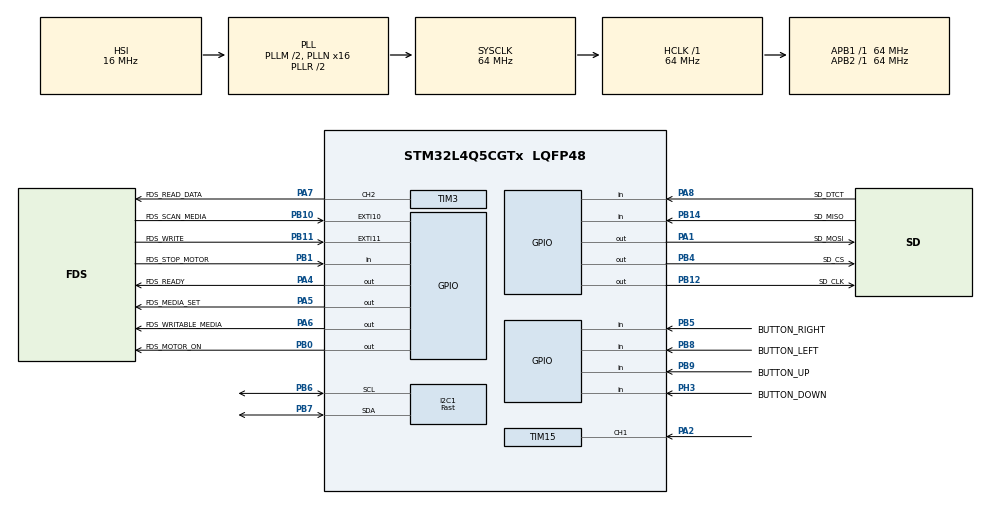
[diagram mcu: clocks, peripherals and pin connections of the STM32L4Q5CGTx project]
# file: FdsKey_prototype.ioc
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Dma.Request0=TIM3_UP
Dma.Request1=TIM15_CH1
Dma.TIM15_CH1.1.Direction=DMA_PERIPH_TO_MEMORY
Dma.TIM15_CH1.1.EventEnable=DISABLE
Dma.TIM15_CH1.1.Instance=DMA1_Channel2
Dma.TIM15_CH1.1.MemDataAlignment=DMA_MDATAALIGN_HALFWORD
Dma.TIM15_CH1.1.MemInc=DMA_MINC_ENABLE
Dma.TIM15_CH1.1.Mode=DMA_CIRCULAR
Dma.TIM15_CH1.1.PeriphDataAlignment=DMA_PDATAALIGN_HALFWORD
Dma.TIM15_CH1.1.PeriphInc=DMA_PINC_DISABLE
Dma.TIM15_CH1.1.Polarity=HAL_DMAMUX_REQ_GEN_RISING
Dma.TIM15_CH1.1.Priority=DMA_PRIORITY_VERY_HIGH
Dma.TIM15_CH1.1.RequestNumber=1
Dma.TIM15_CH1.1.SignalID=NONE
Dma.TIM15_CH1.1.SyncEnable=DISABLE
Dma.TIM15_CH1.1.SyncPolarity=HAL_DMAMUX_SYNC_NO_EVENT
Dma.TIM15_CH1.1.SyncRequestNumber=1
Dma.TIM15_CH1.1.SyncSignalID=NONE
Dma.TIM3_UP.0.Direction=DMA_MEMORY_TO_PERIPH
Dma.TIM3_UP.0.EventEnable=DISABLE
Dma.TIM3_UP.0.Instance=DMA1_Channel1
Dma.TIM3_UP.0.MemDataAlignment=DMA_MDATAALIGN_BYTE
Dma.TIM3_UP.0.MemInc=DMA_MINC_ENABLE
Dma.TIM3_UP.0.Mode=DMA_CIRCULAR
Dma.TIM3_UP.0.PeriphDataAlignment=DMA_PDATAALIGN_HALFWORD
Dma.TIM3_UP.0.PeriphInc=DMA_PINC_DISABLE
Dma.TIM3_UP.0.Polarity=HAL_DMAMUX_REQ_GEN_RISING
Dma.TIM3_UP.0.Priority=DMA_PRIORITY_HIGH
Dma.TIM3_UP.0.RequestNumber=1
Dma.TIM3_UP.0.SignalID=NONE
Dma.TIM3_UP.0.SyncEnable=DISABLE
Dma.TIM3_UP.0.SyncPolarity=HAL_DMAMUX_SYNC_NO_EVENT
Dma.TIM3_UP.0.SyncRequestNumber=1
Dma.TIM3_UP.0.SyncSignalID=NONE
FATFS._FS_EXFAT=1
FATFS._FS_NORTC=0
FATFS._FS_TINY=0
FATFS._MULTI_PARTITION=1
FATFS._USE_LABEL=1
FATFS._USE_LFN=1
I2C1.I2C_Speed_Mode=I2C_Fast
I2C1.Timing=0x00602173
Mcu.Family=STM32L4
Mcu.Name=STM32L4Q5CGTx
Mcu.Package=LQFP48
NVIC.DMA1_Channel1_IRQn=true\:0\:0\:false\:false\:true\:false\:true\:true
NVIC.DMA1_Channel2_IRQn=true\:0\:0\:false\:false\:true\:false\:true\:true
NVIC.EXTI15_10_IRQn=true\:0\:0\:true\:false\:true\:true\:true\:true
NVIC.PriorityGroup=NVIC_PRIORITYGROUP_4
NVIC.TIM1_BRK_TIM15_IRQn=true\:0\:0\:false\:false\:true\:true\:true\:true
NVIC.TIM1_UP_TIM16_IRQn=true\:0\:0\:false\:false\:true\:true\:true\:true
PA1.GPIO_Label=SD_MOSI
PA1.GPIO_Speed=GPIO_SPEED_FREQ_VERY_HIGH
PA1.Signal=GPIO_Output
PA2.Signal=S_TIM15_CH1
PA4.GPIO_Label=FDS_READY
PA4.GPIO_ModeDefaultOutputPP=GPIO_MODE_OUTPUT_OD
PA4.GPIO_PuPd=GPIO_NOPULL
PA4.PinState=GPIO_PIN_SET
PA4.Signal=GPIO_Output
PA5.GPIO_Label=FDS_MEDIA_SET
PA5.GPIO_ModeDefaultOutputPP=GPIO_MODE_OUTPUT_OD
PA5.GPIO_PuPd=GPIO_NOPULL
PA5.PinState=GPIO_PIN_SET
PA5.Signal=GPIO_Output
PA6.GPIO_Label=FDS_WRITABLE_MEDIA
PA6.GPIO_ModeDefaultOutputPP=GPIO_MODE_OUTPUT_OD
PA6.GPIO_PuPd=GPIO_NOPULL
PA6.GPIO_Speed=GPIO_SPEED_FREQ_VERY_HIGH
PA6.PinState=GPIO_PIN_SET
PA6.Signal=GPIO_Output
PA7.GPIO_Label=FDS_READ_DATA
PA7.Signal=S_TIM3_CH2
PA8.GPIO_Label=SD_DTCT
PA8.GPIO_PuPd=GPIO_PULLUP
PA8.Signal=GPIO_Input
PB0.GPIO_Label=FDS_MOTOR_ON
PB0.GPIO_ModeDefaultOutputPP=GPIO_MODE_OUTPUT_OD
PB0.GPIO_PuPd=GPIO_NOPULL
PB0.PinState=GPIO_PIN_SET
PB0.Signal=GPIO_Output
PB1.GPIO_Label=FDS_STOP_MOTOR
PB1.GPIO_PuPd=GPIO_PULLUP
PB1.Signal=GPIO_Input
PB10.GPIO_Label=FDS_SCAN_MEDIA
PB10.GPIO_ModeDefaultEXTI=GPIO_MODE_IT_RISING_FALLING
PB10.GPIO_PuPd=GPIO_PULLUP
PB10.Signal=GPXTI10
PB11.GPIO_Label=FDS_WRITE
PB11.GPIO_ModeDefaultEXTI=GPIO_MODE_IT_RISING_FALLING
PB11.GPIO_PuPd=GPIO_PULLUP
PB11.Signal=GPXTI11
PB12.GPIO_Label=SD_CLK
PB12.GPIO_Speed=GPIO_SPEED_FREQ_VERY_HIGH
PB12.PinState=GPIO_PIN_SET
PB12.Signal=GPIO_Output
PB14.GPIO_Label=SD_MISO
PB14.GPIO_PuPd=GPIO_PULLUP
PB14.Signal=GPIO_Input
PB4\ (NJTRST).GPIO_Label=SD_CS
PB4\ (NJTRST).GPIO_ModeDefaultOutputPP=GPIO_MODE_OUTPUT_PP
PB4\ (NJTRST).GPIO_Speed=GPIO_SPEED_FREQ_VERY_HIGH
PB4\ (NJTRST).PinState=GPIO_PIN_SET
PB4\ (NJTRST).Signal=GPIO_Output
PB5.GPIO_Label=BUTTON_RIGHT
PB5.GPIO_PuPd=GPIO_PULLUP
PB5.Signal=GPIO_Input
PB6.Mode=I2C
PB6.Signal=I2C1_SCL
PB7.Mode=I2C
PB7.Signal=I2C1_SDA
PB8.GPIO_Label=BUTTON_LEFT
PB8.GPIO_PuPd=GPIO_PULLUP
PB8.Signal=GPIO_Input
PB9.GPIO_Label=BUTTON_UP
PB9.GPIO_PuPd=GPIO_PULLUP
PB9.Signal=GPIO_Input
PH0-OSC_IN\ (PH0).Mode=HSE-External-Oscillator
PH0-OSC_IN\ (PH0).Signal=RCC_OSC_IN
PH1-OSC_OUT\ (PH1).Mode=HSE-External-Oscillator
PH1-OSC_OUT\ (PH1).Signal=RCC_OSC_OUT
PH3-BOOT0.GPIO_Label=BUTTON_DOWN
PH3-BOOT0.GPIO_PuPd=GPIO_PULLUP
PH3-BOOT0.Signal=GPIO_Input
ProjectManager.HeapSize=0x200
ProjectManager.StackSize=0x400
ProjectManager.TargetToolchain=STM32CubeIDE
RCC.ADCFreq_Value=64000000
RCC.AHBFreq_Value=64000000
RCC.APB1Freq_Value=64000000
RCC.APB1TimFreq_Value=64000000
RCC.APB2Freq_Value=64000000
RCC.APB2TimFreq_Value=64000000
RCC.CortexFreq_Value=64000000
RCC.HCLKFreq_Value=64000000
RCC.HSE_VALUE=16000000
RCC.HSI48_VALUE=48000000
RCC.HSI_VALUE=16000000
RCC.LSE_VALUE=32768
RCC.MSI_VALUE=4000000
RCC.PLLM1=2
RCC.PLLN=16
RCC.PLLSourceVirtual=RCC_PLLSOURCE_HSI
RCC.SYSCLKFreq_VALUE=64000000
RCC.SYSCLKSource=RCC_SYSCLKSOURCE_PLLCLK
RCC.USBFreq_Value=64000000
RCC.VCOOutputFreq_Value=128000000
SH.S_TIM15_CH1.0=TIM15_CH1,Input_Capture1_from_TI1
SH.S_TIM3_CH2.0=TIM3_CH2,PWM Generation2 CH2
TIM1.Period=9
TIM1.Prescaler=63999
TIM1.RepetitionCounter=0
TIM15.Channel-Input_Capture1_from_TI1=TIM_CHANNEL_1
TIM3.Channel-PWM\ Generation2\ CH2=TIM_CHANNEL_2
TIM3.Period=319
VP_FATFS_VS_Generic.Mode=User_defined
VP_TIM1_VS_ClockSourceINT.Mode=Internal
VP_TIM2_VS_ClockSourceINT.Mode=Internal
VP_TIM3_VS_ClockSourceINT.Mode=Internal
board=custom

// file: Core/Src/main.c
/* USER CODE BEGIN Header */
/**
  ******************************************************************************
  * @file           : main.c
  * @brief          : Main program body
  ******************************************************************************
  * @attention
  *
  * Copyright (c) 2023 STMicroelectronics.
  * All rights reserved.
  *
  * This software is licensed under terms that can be found in the LICENSE file
  * in the root directory of this software component.
  * If no LICENSE file comes with this software, it is provided AS-IS.
  *
  ******************************************************************************
  */
/* USER CODE END Header */
#include "main.h"
#include "fatfs.h"

/* USER CODE BEGIN Includes */
#include <string.h>
#include <stdio.h>
#include "oled.h"
#include "sdcard.h"
#include "fdsemu.h"
#include "browser.h"
#include "buttons.h"
#include "splash.h"
#include "sideselect.h"
/* USER CODE END Includes */

I2C_HandleTypeDef hi2c1;

TIM_HandleTypeDef htim1;
TIM_HandleTypeDef htim2;
TIM_HandleTypeDef htim3;
TIM_HandleTypeDef htim15;
DMA_HandleTypeDef hdma_tim3_up;
DMA_HandleTypeDef hdma_tim15_ch1;

void SystemClock_Config(void);
static void MX_GPIO_Init(void);
static void MX_DMA_Init(void);
static void MX_I2C1_Init(void);
static void MX_TIM3_Init(void);
static void MX_TIM2_Init(void);
static void MX_TIM1_Init(void);
static void MX_TIM15_Init(void);

/* USER CODE BEGIN 0 */

int line = 0;
void print(char *text)
{
  oled_draw_rectangle(0, line * 8, OLED_WIDTH - 1, line * 8 + 7, 1, 0);
  oled_draw_text_cropped(&FONT_ULTRASLIMFONT_8, text,
      0, line * 8,
      0, OLED_WIDTH,
      0, 0,
      0, 0);
  oled_update(line, line);
  if (line > 3)
  {
    int i;
    for (i = 0; i < 8; i++) {
      oled_set_line(oled_get_line() + 1);
      HAL_Delay(50);
    }
  }
  line++;
}

void HAL_TIM_PeriodElapsedCallback(TIM_HandleTypeDef *htim)
{
  /*
  if (htim == &htim16)
      fds_tick_5us();
  else
  */
  if (htim == &htim1)
      fds_tick_100ms();
}

void HAL_GPIO_EXTI_Callback(uint16_t GPIO_Pin)
{
//  if (GPIO_Pin == FDS_WRITE_DATA_Pin)
//    fds_write_impulse();
//  else
    fds_check_pins();
}

char selected_dir[4096] = "";
char selected_file[256] = "";

/* USER CODE END 0 */

int main(void)
{

  /* MCU Configuration--------------------------------------------------------*/

  /* Reset of all peripherals, Initializes the Flash interface and the Systick. */
  HAL_Init();

  /* Configure the system clock */
  SystemClock_Config();

  /* Initialize all configured peripherals */
  MX_GPIO_Init();
  MX_DMA_Init();
  MX_I2C1_Init();
  MX_FATFS_Init();
  MX_TIM3_Init();
  MX_TIM2_Init();
  MX_TIM1_Init();
  MX_TIM15_Init();
  /* USER CODE BEGIN 2 */

  line = 0;

//  if (HAL_GPIO_ReadPin(SD_DTCT_GPIO_Port, SD_DTCT_Pin))
//    print("no sd card");

//  if (HAL_GPIO_ReadPin(SD_DTCT_GPIO_Port, SD_DTCT_Pin))
//    show_error_screen("No SD card", 1);

  HAL_StatusTypeDef r = SD_init();
  if (r != HAL_OK)
    show_error_screen("Can't init SD card", 1);

  FATFS FatFs;
  FRESULT fr;
  fr = f_mount(&FatFs, "", 1);
  show_error_screen_fr(fr, 1);

  HAL_TIM_Base_Start_IT(&htim1);

  //HAL_StatusTypeDef r = HAL_SD_ReadBlocks(&hsd2, buff, 0, sizeof(buff), 1000);
  //char *filename = "Metroid (Japan) (v1.2) (eng).fds";
//  char *filename = "Super Mario Brothers (Japan).fds";
  //char *filename = "metroid_my.fds";

//  char *full_path = malloc(4096);

  while (1)
  {
    BROWSER_RESULT br;
    fr = browser_tree(selected_dir, 4096, selected_file, 256, &br);
    show_error_screen_fr(fr, 1);

    if (br == BROWSER_BACK)
    {
      print("back");
      while (1) {}
    }

    fr = fds_side_select(selected_dir, selected_file);
    show_error_screen_fr(fr, 1);

  /* USER CODE END 2 */

  /* Infinite loop */

  }
}

void SystemClock_Config(void)
{
  RCC_OscInitTypeDef RCC_OscInitStruct = {0};
  RCC_ClkInitTypeDef RCC_ClkInitStruct = {0};

  /** Configure the main internal regulator output voltage
  */
  if (HAL_PWREx_ControlVoltageScaling(PWR_REGULATOR_VOLTAGE_SCALE1) != HAL_OK)
  {
    Error_Handler();
  }

  /** Initializes the RCC Oscillators according to the specified parameters
  * in the RCC_OscInitTypeDef structure.
  */
  RCC_OscInitStruct.OscillatorType = RCC_OSCILLATORTYPE_HSI;
  RCC_OscInitStruct.HSIState = RCC_HSI_ON;
  RCC_OscInitStruct.HSICalibrationValue = RCC_HSICALIBRATION_DEFAULT;
  RCC_OscInitStruct.PLL.PLLState = RCC_PLL_ON;
  RCC_OscInitStruct.PLL.PLLSource = RCC_PLLSOURCE_HSI;
  RCC_OscInitStruct.PLL.PLLM = 2;
  RCC_OscInitStruct.PLL.PLLN = 16;
  RCC_OscInitStruct.PLL.PLLP = RCC_PLLP_DIV2;
  RCC_OscInitStruct.PLL.PLLQ = RCC_PLLQ_DIV2;
  RCC_OscInitStruct.PLL.PLLR = RCC_PLLR_DIV2;
  if (HAL_RCC_OscConfig(&RCC_OscInitStruct) != HAL_OK)
  {
    Error_Handler();
  }

  /** Initializes the CPU, AHB and APB buses clocks
  */
  RCC_ClkInitStruct.ClockType = RCC_CLOCKTYPE_HCLK|RCC_CLOCKTYPE_SYSCLK
                              |RCC_CLOCKTYPE_PCLK1|RCC_CLOCKTYPE_PCLK2;
  RCC_ClkInitStruct.SYSCLKSource = RCC_SYSCLKSOURCE_PLLCLK;
  RCC_ClkInitStruct.AHBCLKDivider = RCC_SYSCLK_DIV1;
  RCC_ClkInitStruct.APB1CLKDivider = RCC_HCLK_DIV1;
  RCC_ClkInitStruct.APB2CLKDivider = RCC_HCLK_DIV1;

  if (HAL_RCC_ClockConfig(&RCC_ClkInitStruct, FLASH_LATENCY_3) != HAL_OK)
  {
    Error_Handler();
  }
}

static void MX_I2C1_Init(void)
{

  hi2c1.Instance = I2C1;
  hi2c1.Init.Timing = 0x00602173;
  hi2c1.Init.OwnAddress1 = 0;
  hi2c1.Init.AddressingMode = I2C_ADDRESSINGMODE_7BIT;
  hi2c1.Init.DualAddressMode = I2C_DUALADDRESS_DISABLE;
  hi2c1.Init.OwnAddress2 = 0;
  hi2c1.Init.OwnAddress2Masks = I2C_OA2_NOMASK;
  hi2c1.Init.GeneralCallMode = I2C_GENERALCALL_DISABLE;
  hi2c1.Init.NoStretchMode = I2C_NOSTRETCH_DISABLE;
  if (HAL_I2C_Init(&hi2c1) != HAL_OK)
  {
    Error_Handler();
  }

  /** Configure Analogue filter
  */
  if (HAL_I2CEx_ConfigAnalogFilter(&hi2c1, I2C_ANALOGFILTER_ENABLE) != HAL_OK)
  {
    Error_Handler();
  }

  /** Configure Digital filter
  */
  if (HAL_I2CEx_ConfigDigitalFilter(&hi2c1, 0) != HAL_OK)
  {
    Error_Handler();
  }
  /* USER CODE BEGIN I2C1_Init 2 */
  HAL_Delay(100);
  oled_init(1, 0, 0x80);
  oled_draw_rectangle(0, 0, OLED_WIDTH - 1, OLED_HEIGHT - 1, 1, 0);
  oled_update_full();
  oled_set_line(0);
  /* USER CODE END I2C1_Init 2 */

}

static void MX_TIM1_Init(void)
{

  TIM_ClockConfigTypeDef sClockSourceConfig = {0};
  TIM_MasterConfigTypeDef sMasterConfig = {0};

  htim1.Instance = TIM1;
  htim1.Init.Prescaler = 63999;
  htim1.Init.CounterMode = TIM_COUNTERMODE_UP;
  htim1.Init.Period = 9;
  htim1.Init.ClockDivision = TIM_CLOCKDIVISION_DIV1;
  htim1.Init.RepetitionCounter = 0;
  htim1.Init.AutoReloadPreload = TIM_AUTORELOAD_PRELOAD_DISABLE;
  if (HAL_TIM_Base_Init(&htim1) != HAL_OK)
  {
    Error_Handler();
  }
  sClockSourceConfig.ClockSource = TIM_CLOCKSOURCE_INTERNAL;
  if (HAL_TIM_ConfigClockSource(&htim1, &sClockSourceConfig) != HAL_OK)
  {
    Error_Handler();
  }
  sMasterConfig.MasterOutputTrigger = TIM_TRGO_RESET;
  sMasterConfig.MasterOutputTrigger2 = TIM_TRGO2_RESET;
  sMasterConfig.MasterSlaveMode = TIM_MASTERSLAVEMODE_DISABLE;
  if (HAL_TIMEx_MasterConfigSynchronization(&htim1, &sMasterConfig) != HAL_OK)
  {
    Error_Handler();
  }

}

static void MX_TIM2_Init(void)
{

  TIM_ClockConfigTypeDef sClockSourceConfig = {0};
  TIM_MasterConfigTypeDef sMasterConfig = {0};

  htim2.Instance = TIM2;
  htim2.Init.Prescaler = 0;
  htim2.Init.CounterMode = TIM_COUNTERMODE_UP;
  htim2.Init.Period = 4294967295;
  htim2.Init.ClockDivision = TIM_CLOCKDIVISION_DIV1;
  htim2.Init.AutoReloadPreload = TIM_AUTORELOAD_PRELOAD_DISABLE;
  if (HAL_TIM_Base_Init(&htim2) != HAL_OK)
  {
    Error_Handler();
  }
  sClockSourceConfig.ClockSource = TIM_CLOCKSOURCE_INTERNAL;
  if (HAL_TIM_ConfigClockSource(&htim2, &sClockSourceConfig) != HAL_OK)
  {
    Error_Handler();
  }
  sMasterConfig.MasterOutputTrigger = TIM_TRGO_RESET;
  sMasterConfig.MasterSlaveMode = TIM_MASTERSLAVEMODE_DISABLE;
  if (HAL_TIMEx_MasterConfigSynchronization(&htim2, &sMasterConfig) != HAL_OK)
  {
    Error_Handler();
  }

}

static void MX_TIM3_Init(void)
{

  TIM_ClockConfigTypeDef sClockSourceConfig = {0};
  TIM_MasterConfigTypeDef sMasterConfig = {0};
  TIM_OC_InitTypeDef sConfigOC = {0};

  htim3.Instance = TIM3;
  htim3.Init.Prescaler = 0;
  htim3.Init.CounterMode = TIM_COUNTERMODE_UP;
  htim3.Init.Period = 319;
  htim3.Init.ClockDivision = TIM_CLOCKDIVISION_DIV1;
  htim3.Init.AutoReloadPreload = TIM_AUTORELOAD_PRELOAD_DISABLE;
  if (HAL_TIM_Base_Init(&htim3) != HAL_OK)
  {
    Error_Handler();
  }
  sClockSourceConfig.ClockSource = TIM_CLOCKSOURCE_INTERNAL;
  if (HAL_TIM_ConfigClockSource(&htim3, &sClockSourceConfig) != HAL_OK)
  {
    Error_Handler();
  }
  if (HAL_TIM_PWM_Init(&htim3) != HAL_OK)
  {
    Error_Handler();
  }
  sMasterConfig.MasterOutputTrigger = TIM_TRGO_RESET;
  sMasterConfig.MasterSlaveMode = TIM_MASTERSLAVEMODE_DISABLE;
  if (HAL_TIMEx_MasterConfigSynchronization(&htim3, &sMasterConfig) != HAL_OK)
  {
    Error_Handler();
  }
  sConfigOC.OCMode = TIM_OCMODE_PWM1;
  sConfigOC.Pulse = 0;
  sConfigOC.OCPolarity = TIM_OCPOLARITY_HIGH;
  sConfigOC.OCFastMode = TIM_OCFAST_DISABLE;
  if (HAL_TIM_PWM_ConfigChannel(&htim3, &sConfigOC, TIM_CHANNEL_2) != HAL_OK)
  {
    Error_Handler();
  }
  HAL_TIM_MspPostInit(&htim3);

}

static void MX_TIM15_Init(void)
{

  TIM_MasterConfigTypeDef sMasterConfig = {0};
  TIM_IC_InitTypeDef sConfigIC = {0};

  htim15.Instance = TIM15;
  htim15.Init.Prescaler = 0;
  htim15.Init.CounterMode = TIM_COUNTERMODE_UP;
  htim15.Init.Period = 65535;
  htim15.Init.ClockDivision = TIM_CLOCKDIVISION_DIV1;
  htim15.Init.RepetitionCounter = 0;
  htim15.Init.AutoReloadPreload = TIM_AUTORELOAD_PRELOAD_DISABLE;
  if (HAL_TIM_IC_Init(&htim15) != HAL_OK)
  {
    Error_Handler();
  }
  sMasterConfig.MasterOutputTrigger = TIM_TRGO_RESET;
  sMasterConfig.MasterSlaveMode = TIM_MASTERSLAVEMODE_DISABLE;
  if (HAL_TIMEx_MasterConfigSynchronization(&htim15, &sMasterConfig) != HAL_OK)
  {
    Error_Handler();
  }
  sConfigIC.ICPolarity = TIM_INPUTCHANNELPOLARITY_RISING;
  sConfigIC.ICSelection = TIM_ICSELECTION_DIRECTTI;
  sConfigIC.ICPrescaler = TIM_ICPSC_DIV1;
  sConfigIC.ICFilter = 0;
  if (HAL_TIM_IC_ConfigChannel(&htim15, &sConfigIC, TIM_CHANNEL_1) != HAL_OK)
  {
    Error_Handler();
  }

}

static void MX_DMA_Init(void)
{

  /* DMA controller clock enable */
  __HAL_RCC_DMAMUX1_CLK_ENABLE();
  __HAL_RCC_DMA1_CLK_ENABLE();

  /* DMA interrupt init */
  /* DMA1_Channel1_IRQn interrupt configuration */
  HAL_NVIC_SetPriority(DMA1_Channel1_IRQn, 0, 0);
  HAL_NVIC_EnableIRQ(DMA1_Channel1_IRQn);
  /* DMA1_Channel2_IRQn interrupt configuration */
  HAL_NVIC_SetPriority(DMA1_Channel2_IRQn, 0, 0);
  HAL_NVIC_EnableIRQ(DMA1_Channel2_IRQn);

}

static void MX_GPIO_Init(void)
{
  GPIO_InitTypeDef GPIO_InitStruct = {0};

  /* GPIO Ports Clock Enable */
  __HAL_RCC_GPIOH_CLK_ENABLE();
  __HAL_RCC_GPIOA_CLK_ENABLE();
  __HAL_RCC_GPIOB_CLK_ENABLE();

  /*Configure GPIO pin Output Level */
  HAL_GPIO_WritePin(SD_MOSI_GPIO_Port, SD_MOSI_Pin, GPIO_PIN_RESET);

  /*Configure GPIO pin Output Level */
  HAL_GPIO_WritePin(GPIOA, FDS_READY_Pin|FDS_MEDIA_SET_Pin|FDS_WRITABLE_MEDIA_Pin, GPIO_PIN_SET);

  /*Configure GPIO pin Output Level */
  HAL_GPIO_WritePin(GPIOB, FDS_MOTOR_ON_Pin|SD_CLK_Pin|SD_CS_Pin, GPIO_PIN_SET);

  /*Configure GPIO pin : SD_MOSI_Pin */
  GPIO_InitStruct.Pin = SD_MOSI_Pin;
  GPIO_InitStruct.Mode = GPIO_MODE_OUTPUT_PP;
  GPIO_InitStruct.Pull = GPIO_NOPULL;
  GPIO_InitStruct.Speed = GPIO_SPEED_FREQ_VERY_HIGH;
  HAL_GPIO_Init(SD_MOSI_GPIO_Port, &GPIO_InitStruct);

  /*Configure GPIO pins : FDS_READY_Pin FDS_MEDIA_SET_Pin */
  GPIO_InitStruct.Pin = FDS_READY_Pin|FDS_MEDIA_SET_Pin;
  GPIO_InitStruct.Mode = GPIO_MODE_OUTPUT_OD;
  GPIO_InitStruct.Pull = GPIO_NOPULL;
  GPIO_InitStruct.Speed = GPIO_SPEED_FREQ_LOW;
  HAL_GPIO_Init(GPIOA, &GPIO_InitStruct);

  /*Configure GPIO pin : FDS_WRITABLE_MEDIA_Pin */
  GPIO_InitStruct.Pin = FDS_WRITABLE_MEDIA_Pin;
  GPIO_InitStruct.Mode = GPIO_MODE_OUTPUT_OD;
  GPIO_InitStruct.Pull = GPIO_NOPULL;
  GPIO_InitStruct.Speed = GPIO_SPEED_FREQ_VERY_HIGH;
  HAL_GPIO_Init(FDS_WRITABLE_MEDIA_GPIO_Port, &GPIO_InitStruct);

  /*Configure GPIO pin : FDS_MOTOR_ON_Pin */
  GPIO_InitStruct.Pin = FDS_MOTOR_ON_Pin;
  GPIO_InitStruct.Mode = GPIO_MODE_OUTPUT_OD;
  GPIO_InitStruct.Pull = GPIO_NOPULL;
  GPIO_InitStruct.Speed = GPIO_SPEED_FREQ_LOW;
  HAL_GPIO_Init(FDS_MOTOR_ON_GPIO_Port, &GPIO_InitStruct);

  /*Configure GPIO pins : FDS_STOP_MOTOR_Pin SD_MISO_Pin BUTTON_RIGHT_Pin BUTTON_LEFT_Pin
                           BUTTON_UP_Pin */
  GPIO_InitStruct.Pin = FDS_STOP_MOTOR_Pin|SD_MISO_Pin|BUTTON_RIGHT_Pin|BUTTON_LEFT_Pin
                          |BUTTON_UP_Pin;
  GPIO_InitStruct.Mode = GPIO_MODE_INPUT;
  GPIO_InitStruct.Pull = GPIO_PULLUP;
  HAL_GPIO_Init(GPIOB, &GPIO_InitStruct);

  /*Configure GPIO pins : FDS_SCAN_MEDIA_Pin FDS_WRITE_Pin */
  GPIO_InitStruct.Pin = FDS_SCAN_MEDIA_Pin|FDS_WRITE_Pin;
  GPIO_InitStruct.Mode = GPIO_MODE_IT_RISING_FALLING;
  GPIO_InitStruct.Pull = GPIO_PULLUP;
  HAL_GPIO_Init(GPIOB, &GPIO_InitStruct);

  /*Configure GPIO pins : SD_CLK_Pin SD_CS_Pin */
  GPIO_InitStruct.Pin = SD_CLK_Pin|SD_CS_Pin;
  GPIO_InitStruct.Mode = GPIO_MODE_OUTPUT_PP;
  GPIO_InitStruct.Pull = GPIO_NOPULL;
  GPIO_InitStruct.Speed = GPIO_SPEED_FREQ_VERY_HIGH;
  HAL_GPIO_Init(GPIOB, &GPIO_InitStruct);

  /*Configure GPIO pin : SD_DTCT_Pin */
  GPIO_InitStruct.Pin = SD_DTCT_Pin;
  GPIO_InitStruct.Mode = GPIO_MODE_INPUT;
  GPIO_InitStruct.Pull = GPIO_PULLUP;
  HAL_GPIO_Init(SD_DTCT_GPIO_Port, &GPIO_InitStruct);

  /*Configure GPIO pin : BUTTON_DOWN_Pin */
  GPIO_InitStruct.Pin = BUTTON_DOWN_Pin;
  GPIO_InitStruct.Mode = GPIO_MODE_INPUT;
  GPIO_InitStruct.Pull = GPIO_PULLUP;
  HAL_GPIO_Init(BUTTON_DOWN_GPIO_Port, &GPIO_InitStruct);

  /* EXTI interrupt init*/
  HAL_NVIC_SetPriority(EXTI15_10_IRQn, 0, 0);
  HAL_NVIC_EnableIRQ(EXTI15_10_IRQn);

}

void Error_Handler(void)
{
  /* USER CODE BEGIN Error_Handler_Debug */
  /* User can add his own implementation to report the HAL error return state */
  show_error_screen("Unknown fatal error", 1);
  /* USER CODE END Error_Handler_Debug */
}
